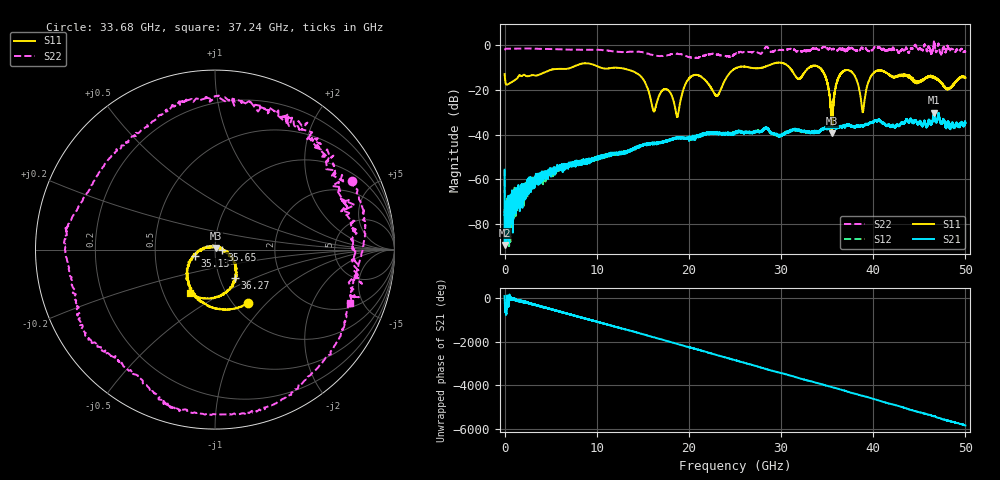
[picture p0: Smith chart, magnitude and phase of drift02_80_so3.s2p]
!Created with skrf (http://scikit-rf.org).
# Hz S RI R 50.0
!freq ReS11 ImS11 ReS21 ImS21 ReS12 ImS12 ReS22 ImS22
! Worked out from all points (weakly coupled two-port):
!   10001 points, 300 kHz to 50 GHz, reference 50 ohm
!   highest |S21| = -30.13 dB at 46.61 GHz (marker M1); lowest = -89.5 dB at 15.3 MHz (marker M2)
!   lowest |S11| = -39.4 dB at 35.52 GHz (marker M3), VSWR 1.02, Z = 50.6 + j0.892 ohm
!   |S11| at or under -10 dB: start of sweep to 7.178 GHz; 12.39 GHz to 25.17 GHz (12.79 GHz wide, 68.1 % of centre); 34.2 GHz to end of sweep (the widest 3 of 17)
!   |S22| runs from -5.7 to 2.2 dB; largest |S21 - S12| = 0.0035
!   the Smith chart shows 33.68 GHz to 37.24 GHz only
!   S11 on the Smith chart (normalised r, x): 33.68 GHz: 1.16, -0.80; 35.13 GHz: 0.80, -0.05; 35.65 GHz: 1.08, -0.01; 36.27 GHz: 1.18, -0.39; 37.24 GHz: 0.68, -0.36
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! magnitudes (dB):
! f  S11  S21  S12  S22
! 300 kHz  -12.9  -55.7  -55.5  -2.1
! 15.3 MHz  -13.6  -89.5  -75.7  -2.0
! 260.3 MHz  -17.6  -77.5  -72.7  -1.4
! 3.555 GHz  -13.4  -60.5  -58.1  -1.5
! 8.335 GHz  -8.2  -53.6  -52.8  -1.9
! 16.67 GHz  -23.4  -43.4  -43.5  -4.7
! 18.74 GHz  -32.0  -41.5  -41.4  -3.7
! 20.24 GHz  -13.9  -41.1  -41.4  -5.4
! 23.04 GHz  -22.5  -39.1  -39.0  -4.1
! 25 GHz  -10.4  -39.2  -39.4  -3.9
! 33.34 GHz  -9.4  -38.8  -39.0  -1.6
! 33.68 GHz  -9.1  -38.6  -38.8  -1.4
! 35.13 GHz  -18.8  -37.2  -37.5  -1.6
! 35.52 GHz  -39.4  -36.7  -36.8  -1.7
! 35.65 GHz  -28.6  -37.1  -36.9  -1.6
! 36.27 GHz  -14.2  -36.4  -36.7  -1.7
! 37.24 GHz  -11.0  -35.6  -35.7  -1.8
! 38.86 GHz  -29.9  -36.2  -36.1  -1.3
! 39.96 GHz  -12.7  -34.4  -34.5  -1.9
! 41.67 GHz  -13.0  -35.5  -35.6  -2.0
! 46.61 GHz  -14.2  -30.1  -30.5  2.2
! 50 GHz  -14.6  -34.7  -34.9  -2.7
